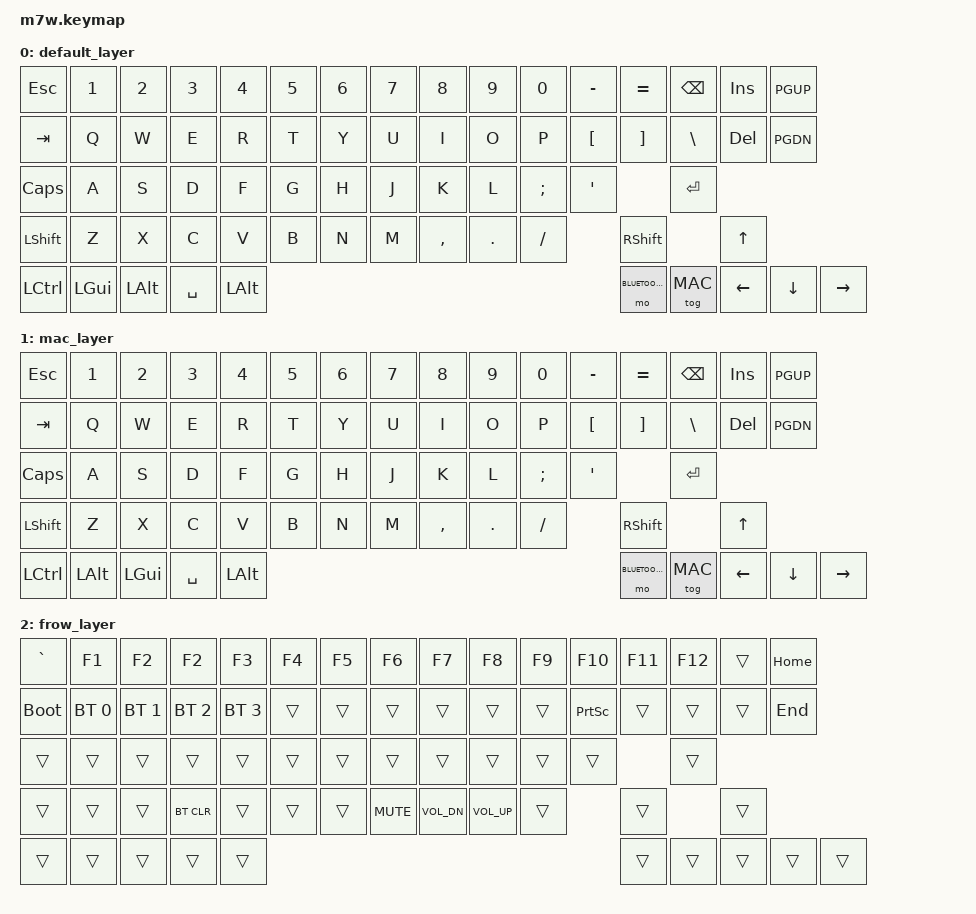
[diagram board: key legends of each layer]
/*
 * Copyright (c) 2021 Nick Winans
 *
 * SPDX-License-Identifier: MIT
 */

#include <behaviors.dtsi>
#include <dt-bindings/zmk/keys.h>
#include <dt-bindings/zmk/rgb.h>
#include <dt-bindings/zmk/bt.h>
#include <dt-bindings/zmk/outputs.h>
#include <dt-bindings/zmk/ext_power.h>

/ {
  keymap {
    compatible = "zmk,keymap";

    #define DEFAULT 0
    #define MAC   1
    #define BLUETOOTH   2
    
    default_layer {
      bindings = <
        &kp ESC    &kp N1   &kp N2   &kp N3   &kp N4   &kp N5   &kp N6   &kp N7   &kp N8     &kp N9       &kp N0    &kp MINUS  &kp EQUAL  &kp BSPC                &kp INS  &kp PGUP
        &kp TAB    &kp Q    &kp W    &kp E    &kp R    &kp T    &kp Y    &kp U    &kp I      &kp O        &kp P     &kp LBKT   &kp RBKT       &kp BSLH            &kp DEL  &kp PGDN
        &kp CLCK   &kp A    &kp S    &kp D    &kp F    &kp G    &kp H    &kp J    &kp K      &kp L        &kp SEMI  &kp SQT           &kp RET                    
        &kp LSHFT  &kp Z    &kp X    &kp C    &kp V    &kp B    &kp N    &kp M    &kp COMMA  &kp DOT      &kp FSLH            &kp RSHFT                 &kp UP    
        &kp LCTRL  &kp LGUI &kp LALT                                  &kp SPACE                               &kp LALT   &mo BLUETOOTH  &tog MAC       &kp LEFT    &kp DOWN     &kp RIGHT   
      >;
    };

    mac_layer {
      bindings = <
        &kp ESC    &kp N1   &kp N2   &kp N3   &kp N4   &kp N5   &kp N6   &kp N7   &kp N8     &kp N9       &kp N0    &kp MINUS  &kp EQUAL  &kp BSPC                &kp INS  &kp PGUP
        &kp TAB    &kp Q    &kp W    &kp E    &kp R    &kp T    &kp Y    &kp U    &kp I      &kp O        &kp P     &kp LBKT   &kp RBKT       &kp BSLH            &kp DEL  &kp PGDN
        &kp CLCK   &kp A    &kp S    &kp D    &kp F    &kp G    &kp H    &kp J    &kp K      &kp L        &kp SEMI  &kp SQT           &kp RET                    
        &kp LSHFT  &kp Z    &kp X    &kp C    &kp V    &kp B    &kp N    &kp M    &kp COMMA  &kp DOT      &kp FSLH            &kp RSHFT                 &kp UP    
        &kp LCTRL  &kp LALT &kp LGUI                                  &kp SPACE                               &kp LALT   &mo BLUETOOTH  &tog  MAC       &kp LEFT    &kp DOWN     &kp RIGHT   
      >;
    };

    frow_layer {
      bindings = <
        &kp GRAVE  &kp F1    &kp F2   &kp F2   &kp F3   &kp F4   &kp F5   &kp F6   &kp F7   &kp F8     &kp F9       &kp F10    &kp F11  &kp F12           &trans  &kp HOME
        &bootloader    &bt BT_SEL 0    &bt BT_SEL 1    &bt BT_SEL 2    &bt BT_SEL 3    &trans    &trans    &trans    &trans      &trans        &trans     &kp PSCRN   &trans       &trans           &trans  &kp END
        &trans &trans   &trans    &trans   &trans    &trans   &trans   &trans    &trans    &trans        &trans &trans          &trans                    
        &trans &trans   &trans   &bt BT_CLR  &trans  &trans   &trans   &kp C_MUTE  &kp C_VOL_DN &kp C_VOL_UP     &trans          &trans                 &trans  
        &trans &trans  &trans                             &trans                             &trans   &trans  &trans      &trans   &trans     &trans
      >;
    };
  };
};
